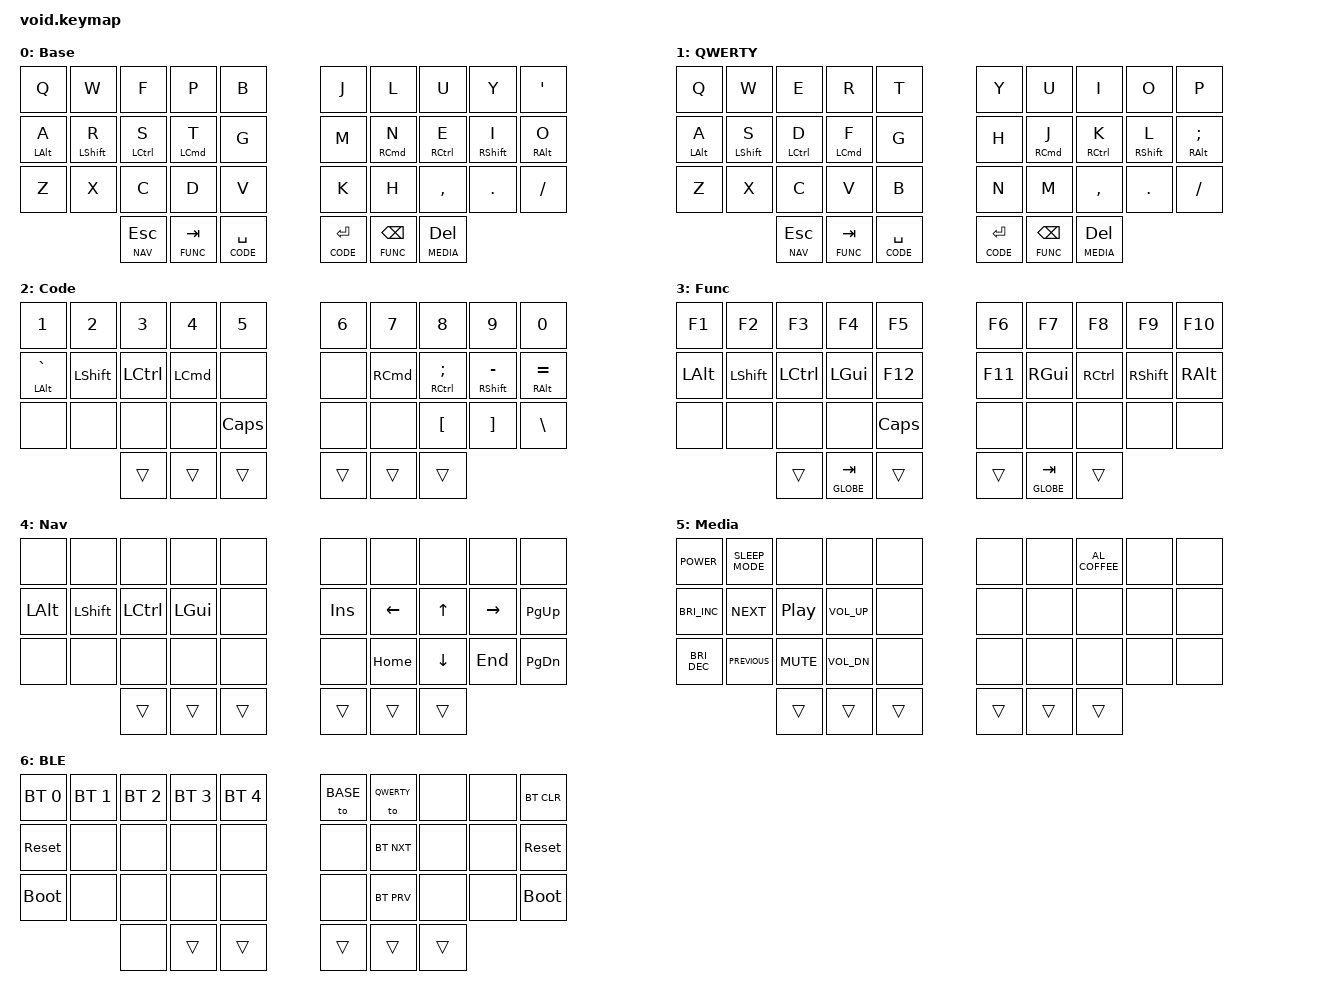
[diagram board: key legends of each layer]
/*
 * Copyright (c) 2020 The ZMK Contributors
 *
 * SPDX-License-Identifier: MIT
 */

#include <behaviors.dtsi>
#include <dt-bindings/zmk/keys.h>
#include <dt-bindings/zmk/bt.h>

// Source desired key-position labels
#include "zmk-helpers/helper.h"
#include "zmk-helpers/key-labels/36.h"

#define BASE    0
#define QWERTY  1
#define CODE    2
#define FUNC    3
#define NAV     4
#define MEDIA   5
#define BLE     6
    
#define KEYS_L LT0 LT1 LT2 LT3 LT4 LM0 LM1 LM2 LM3 LM4 LB0 LB1 LB2 LB3 LB4
#define KEYS_R RT0 RT1 RT2 RT3 RT4 RM0 RM1 RM2 RM3 RM4 RB0 RB1 RB2 RB3 RB4
#define THUMBS LH2 LH1 LH0 RH0 RH1 RH2

ZMK_HOLD_TAP(hml,
    flavor = "balanced";
    tapping-term-ms = <200>;
    quick-tap-ms = <175>;
    hold-trigger-key-positions = <KEYS_R THUMBS>;
    hold-trigger-on-release;
    bindings = <&kp>, <&kp>;
)

ZMK_HOLD_TAP(hmr,
    flavor = "balanced";
    tapping-term-ms = <200>;
    quick-tap-ms = <175>;
    hold-trigger-key-positions = <KEYS_L THUMBS>;
    hold-trigger-on-release;
    bindings = <&kp>, <&kp>;
)

ZMK_HOLD_TAP(ltwr,
   label = "LAYER_TAP_WITH_REPEAT";
   flavor = "tap-preferred";
   tapping-term-ms = <200>;
   quick-tap-ms = <175>;
   bindings = <&mo>, <&kp>;
)

/* Custom behaviors */

ZMK_CONDITIONAL_LAYER(ble, NAV MEDIA, BLE)

nice_view_spi: &spi0 {
    cs-gpios = <&pro_micro 9 GPIO_ACTIVE_HIGH>;
};


/ {
        keymap {
                compatible = "zmk,keymap";

            base {
              display-name = "Base";
              bindings = <
                // col 0       // col 1      // col 2        // col 3       // col 4         // col 5       // col 6             // col 7        // col 8              // col 9
                &kp Q          &kp W         &kp F           &kp P          &kp B            &kp J          &kp L                &kp U           &kp Y                 &kp SQT
                &hml  LALT A   &hml LSHFT R  &hml  LCTRL S   &hml  LCMD T   &kp G            &kp M          &hmr  RCMD N         &hmr  RCTRL E   &hmr RSHFT I   &hmr  RALT O 
                &kp Z          &kp X         &kp C           &kp D          &kp V            &kp K          &kp H                &kp COMMA       &kp DOT               &kp FSLH
                                             &ltwr NAV ESC   &ltwr FUNC TAB &ltwr CODE SPACE &ltwr CODE RET &ltwr FUNC BACKSPACE &ltwr MEDIA DEL
              >;
            };

            qwerty {
              display-name = "QWERTY";
              bindings = <
                // col 0       // col 1      // col 2        // col 3       // col 4         // col 5       // col 6             // col 7        // col 8              // col 9
                &kp Q          &kp W         &kp E           &kp R          &kp T            &kp Y          &kp U                &kp I           &kp O                 &kp P
                &hml  LALT A   &hml LSHFT S  &hml  LCTRL D   &hml  LCMD F   &kp G            &kp H          &hmr  RCMD J         &hmr  RCTRL K   &hmr RSHFT L   &hmr  RALT SEMI
                &kp Z          &kp X         &kp C           &kp V          &kp B            &kp N          &kp M                &kp COMMA       &kp DOT               &kp FSLH
                                             &ltwr NAV ESC   &ltwr FUNC TAB &ltwr CODE SPACE &ltwr CODE RET &ltwr FUNC BACKSPACE &ltwr MEDIA DEL
              >;
            };

            code_layer {
              display-name = "Code";
              bindings = <
                &kp N1           &kp N2     &kp N3     &kp N4    &kp N5       &kp N6  &kp N7    &kp N8            &kp N9             &kp N0
                &hml LALT GRAVE  &kp LSHFT  &kp LCTRL  &kp LCMD  &none        &none   &kp RCMD  &hmr RCTRL SEMI   &hmr RSHFT MINUS   &hmr RALT EQUAL 
                &none            &none      &none      &none     &kp CAPS     &none   &none     &kp LEFT_BRACKET  &kp RIGHT_BRACKET  &kp BACKSLASH
                                            &trans     &trans    &trans       &trans  &trans    &trans
              >;
            };

            func_layer {
              display-name = "Func";
              bindings = <
                &kp F1    &kp F2     &kp F3     &kp F4           &kp F5           &kp F6   &kp F7           &kp F8     &kp F9     &kp F10
                &kp LALT  &kp LSHFT  &kp LCTRL  &kp LGUI         &kp F12          &kp F11  &kp RGUI         &kp RCTRL  &kp RSHFT  &kp RALT
                &none     &none      &none      &none            &kp CAPS         &none    &none            &none      &none      &none
                                     &trans     &hml GLOBE TAB   &trans           &trans   &hmr GLOBE TAB   &trans
              >;
            };

            nav_layer {
              display-name = "Nav";
              bindings = <
                // col 0  // col 1   // col 2   // col 3  // col 4    // col 5  // col 6  // col 7  // col 8   // col 9
                &none     &none      &none      &none     &none       &none     &none     &none     &none      &none
                &kp LALT  &kp LSHFT  &kp LCTRL  &kp LGUI  &none       &kp INS   &kp LEFT  &kp UP    &kp RIGHT  &kp PAGE_UP
                &none     &none      &none      &none     &none       &none     &kp HOME  &kp DOWN  &kp END    &kp PAGE_DOWN
                                     &trans     &trans    &trans      &trans    &trans    &trans
              >;
            };

            media_layer {
              display-name = "Media";
              bindings = <
                // col 0       // col 1          // col 2    // col 3      // col 4    // col 5  // col 6  // col 7         // col 8    // col 9
                &kp C_POWER    &kp C_SLEEP_MODE  &none       &none         &none       &none     &none     &kp C_AL_COFFEE  &none       &none
                &kp C_BRI_INC  &kp C_NEXT        &kp C_PP    &kp C_VOL_UP  &none       &none     &none     &none            &none       &none
                &kp C_BRI_DEC  &kp C_PREVIOUS    &kp C_MUTE  &kp C_VOL_DN  &none       &none     &none     &none            &none       &none
                                                 &trans      &trans        &trans      &trans    &trans    &trans
              >;
            };

            config_layer {
              display-name = "BLE";
              bindings = <
                &bt BT_SEL 0 &bt BT_SEL 1 &bt BT_SEL 2 &bt BT_SEL 3 &bt BT_SEL 4      &to BASE  &to QWERTY   &none       &none       &bt BT_CLR
                &sys_reset   &none        &none        &none        &none             &none     &bt BT_NXT   &none       &none       &sys_reset
                &bootloader  &none        &none        &none        &none             &none     &bt BT_PRV   &none       &none       &bootloader
                                          &none        &trans       &trans            &trans    &trans       &trans
              >;
            };

        };
};
